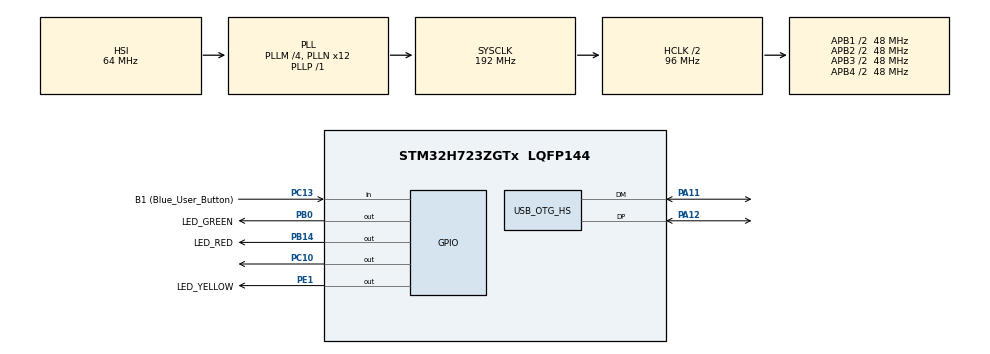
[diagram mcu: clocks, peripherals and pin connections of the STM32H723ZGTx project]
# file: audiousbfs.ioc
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Mcu.Family=STM32H7
Mcu.Name=STM32H723ZGTx
Mcu.Package=LQFP144
NVIC.OTG_HS_IRQn=true\:0\:0\:false\:false\:true\:false\:true\:true
NVIC.PriorityGroup=NVIC_PRIORITYGROUP_4
PA1.GPIO_Label=RMII_REF_CLK
PA1.Signal=ETH_REF_CLK
PA10.GPIO_Label=USB_FS_ID
PA10.Signal=USB_OTG_HS_ID
PA11.Mode=Device_Only_FS
PA11.Signal=USB_OTG_HS_DM
PA12.Mode=Device_Only_FS
PA12.Signal=USB_OTG_HS_DP
PA13(JTMS/SWDIO).GPIO_Label=SWDIO
PA13(JTMS/SWDIO).Signal=DEBUG_JTMS-SWDIO
PA14(JTCK/SWCLK).GPIO_Label=SWCLK
PA14(JTCK/SWCLK).Signal=DEBUG_JTCK-SWCLK
PA2.GPIO_Label=RMII_MDIO
PA2.Signal=ETH_MDIO
PA7.GPIO_Label=RMII_CRS_DV
PA7.Signal=ETH_CRS_DV
PA9.GPIO_Label=USB_FS_VBUS
PA9.Signal=USB_OTG_HS_VBUS
PB0.GPIO_Label=LED_GREEN
PB0.Signal=GPIO_Output
PB13.GPIO_Label=RMII_TXD1
PB13.Signal=ETH_TXD1
PB14.GPIO_Label=LED_RED
PB14.Signal=GPIO_Output
PB3(JTDO/TRACESWO).GPIO_Label=SWO
PB3(JTDO/TRACESWO).Signal=DEBUG_JTDO-SWO
PC1.GPIO_Label=RMII_MDC
PC1.Signal=ETH_MDC
PC10.Signal=GPIO_Output
PC13.GPIO_Label=B1 (Blue_User_Button)
PC13.Signal=GPIO_Input
PC14-OSC32_IN.Signal=RCC_OSC32_IN
PC15-OSC32_OUT.Signal=RCC_OSC32_OUT
PC4.GPIO_Label=RMII_RXD0
PC4.Signal=ETH_RXD0
PC5.GPIO_Label=RMII_RXD1
PC5.Signal=ETH_RXD1
PD8.GPIO_Label=STLK_VCP_RX
PD8.Signal=USART3_TX
PD9.GPIO_Label=STLK_VCP_TX
PD9.Signal=USART3_RX
PE1.GPIO_Label=LED_YELLOW
PE1.Signal=GPIO_Output
PG11.GPIO_Label=RMII_TX_EN
PG11.Signal=ETH_TX_EN
PG13.GPIO_Label=RMII_TXD0
PG13.Signal=ETH_TXD0
PH0-OSC_IN.GPIO_Label=MCO
PH0-OSC_IN.Mode=HSE-External-Oscillator
PH0-OSC_IN.Signal=RCC_OSC_IN
PH1-OSC_OUT.Mode=HSE-External-Oscillator
PH1-OSC_OUT.Signal=RCC_OSC_OUT
ProjectManager.HeapSize=0x200
ProjectManager.StackSize=0x400
ProjectManager.TargetToolchain=STM32CubeIDE
RCC.ADCFreq_Value=608000000
RCC.APB1Freq_Value=48000000
RCC.APB2Freq_Value=48000000
RCC.APB3Freq_Value=48000000
RCC.APB4Freq_Value=48000000
RCC.CortexFreq_Value=192000000
RCC.D1PPRE=RCC_APB3_DIV2
RCC.D2PPRE1=RCC_APB1_DIV2
RCC.D2PPRE2=RCC_APB2_DIV2
RCC.D3PPRE=RCC_APB4_DIV2
RCC.DIVM1=4
RCC.DIVM2=1
RCC.DIVN1=12
RCC.DIVN2=19
RCC.DIVP1=1
RCC.DIVQ1=4
RCC.HCLKFreq_Value=96000000
RCC.HPRE=RCC_HCLK_DIV2
RCC.HSE_VALUE=8000000
RCC.PLLFRACN=0
RCC.SYSCLKFreq_VALUE=192000000
RCC.SYSCLKSource=RCC_SYSCLKSOURCE_PLLCLK
RCC.USBCLockSelection=RCC_USBCLKSOURCE_HSI48
RCC.USBFreq_Value=48000000
USB_DEVICE.CLASS_NAME_HS=AUDIO
USB_DEVICE.PRODUCT_STRING_AUDIO_HS=STM32 QUANTTRONIX Class
USB_DEVICE.USBD_AUDIO_FREQ=48000
USB_DEVICE.USBD_DEBUG_LEVEL=3
USB_DEVICE.USBD_MAX_STR_DESC_SIZ=0xFFFF
USB_DEVICE.VirtualMode=Audio
USB_DEVICE.VirtualModeHS=Audio_HS
USB_OTG_HS.VirtualMode-Device_Only_FS=Device_Only_FS
USB_OTG_HS.dma_enable-Device_Only_FS=ENABLE
VP_USB_DEVICE_VS_USB_DEVICE_AUDIO_HS.Mode=AUDIO_HS
board=NUCLEO-H723ZG

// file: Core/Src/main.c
/* USER CODE BEGIN Header */
/**
  ******************************************************************************
  * @file           : main.c
  * @brief          : Main program body
  ******************************************************************************
  * @attention
  *
  * Copyright (c) 2022 STMicroelectronics.
  * All rights reserved.
  *
  * This software is licensed under terms that can be found in the LICENSE file
  * in the root directory of this software component.
  * If no LICENSE file comes with this software, it is provided AS-IS.
  *
  ******************************************************************************
  */
/* USER CODE END Header */
#include "main.h"
#include "usb_device.h"

/* USER CODE BEGIN Includes */
#include "usbd_audio.h"
#include "usbd_audio_if.h"
#include "stm32h7xx.h"

/* USER CODE END Includes */

/* USER CODE BEGIN PV */
extern USBD_HandleTypeDef hUsbDeviceHS;
#define USBx_INEP(i)    ((USB_OTG_INEndpointTypeDef *)(USBx_BASE\
                                                       + USB_OTG_IN_ENDPOINT_BASE + ((i) * USB_OTG_EP_REG_SIZE)))
/* USER CODE END PV */

void SystemClock_Config(void);
static void MX_GPIO_Init(void);

int main(void)
{

  /* MCU Configuration--------------------------------------------------------*/

  /* Reset of all peripherals, Initializes the Flash interface and the Systick. */
  HAL_Init();

  /* Configure the system clock */
  SystemClock_Config();

  /* Initialize all configured peripherals */
  MX_GPIO_Init();
  MX_USB_DEVICE_Init();
  /* USER CODE BEGIN 2 */
  uint8_t data[512] = "QUANTTRONIX\n";

  memset(data+14, 1 , 512-14);
//  USBD_AUDIO_Init(&hUsbDeviceHS,1);
#define OTG_HS_DIEPINT1 (*(volatile uint32_t*)0x40040928)
#define OTG_HS_DIEPINT0 (*(volatile uint32_t*)0x40040908)

#define OTG_HS_DAINT (*(volatile uint32_t*)0x40040818)

//  USBD_AUDIO_ItfTypeDef fops;
  /* USER CODE END 2 */

  /* Infinite loop */
  while (1)
  {

    /* USER CODE BEGIN 3 */
	  HAL_GPIO_WritePin(GPIOC, GPIO_PIN_10, 0);
//	  USBD_AUDIO_RegisterInterface(&hUsbDeviceHS, &fops);
//	  USBD_AUDIO_DataIn(&hUsbDeviceHS , 1);
	  if(USBD_CtlSendData(&hUsbDeviceHS,  data,  64) != USBD_OK)
	  {
		  while(USBD_CtlSendStatus(&hUsbDeviceHS) != USBD_OK);
	  }
//	  while((*(hUsbDeviceHS.pClass))->Setup(&hUsbDeviceHS , &req));
//	  while(!(OTG_HS_DIEPINT0 & (1<<7)));
//	  HAL_Delay(1000);

	  HAL_GPIO_WritePin(GPIOC, GPIO_PIN_10, 1);

  }
  /* USER CODE END 3 */
}

void SystemClock_Config(void)
{
  RCC_OscInitTypeDef RCC_OscInitStruct = {0};
  RCC_ClkInitTypeDef RCC_ClkInitStruct = {0};

  /** Supply configuration update enable
  */
  HAL_PWREx_ConfigSupply(PWR_LDO_SUPPLY);

  /** Configure the main internal regulator output voltage
  */
  __HAL_PWR_VOLTAGESCALING_CONFIG(PWR_REGULATOR_VOLTAGE_SCALE2);

  while(!__HAL_PWR_GET_FLAG(PWR_FLAG_VOSRDY)) {}

  /** Initializes the RCC Oscillators according to the specified parameters
  * in the RCC_OscInitTypeDef structure.
  */
  RCC_OscInitStruct.OscillatorType = RCC_OSCILLATORTYPE_HSI48|RCC_OSCILLATORTYPE_HSI;
  RCC_OscInitStruct.HSIState = RCC_HSI_DIV1;
  RCC_OscInitStruct.HSICalibrationValue = RCC_HSICALIBRATION_DEFAULT;
  RCC_OscInitStruct.HSI48State = RCC_HSI48_ON;
  RCC_OscInitStruct.PLL.PLLState = RCC_PLL_ON;
  RCC_OscInitStruct.PLL.PLLSource = RCC_PLLSOURCE_HSI;
  RCC_OscInitStruct.PLL.PLLM = 4;
  RCC_OscInitStruct.PLL.PLLN = 12;
  RCC_OscInitStruct.PLL.PLLP = 1;
  RCC_OscInitStruct.PLL.PLLQ = 4;
  RCC_OscInitStruct.PLL.PLLR = 2;
  RCC_OscInitStruct.PLL.PLLRGE = RCC_PLL1VCIRANGE_3;
  RCC_OscInitStruct.PLL.PLLVCOSEL = RCC_PLL1VCOWIDE;
  RCC_OscInitStruct.PLL.PLLFRACN = 0;
  if (HAL_RCC_OscConfig(&RCC_OscInitStruct) != HAL_OK)
  {
    Error_Handler();
  }

  /** Initializes the CPU, AHB and APB buses clocks
  */
  RCC_ClkInitStruct.ClockType = RCC_CLOCKTYPE_HCLK|RCC_CLOCKTYPE_SYSCLK
                              |RCC_CLOCKTYPE_PCLK1|RCC_CLOCKTYPE_PCLK2
                              |RCC_CLOCKTYPE_D3PCLK1|RCC_CLOCKTYPE_D1PCLK1;
  RCC_ClkInitStruct.SYSCLKSource = RCC_SYSCLKSOURCE_PLLCLK;
  RCC_ClkInitStruct.SYSCLKDivider = RCC_SYSCLK_DIV1;
  RCC_ClkInitStruct.AHBCLKDivider = RCC_HCLK_DIV2;
  RCC_ClkInitStruct.APB3CLKDivider = RCC_APB3_DIV2;
  RCC_ClkInitStruct.APB1CLKDivider = RCC_APB1_DIV2;
  RCC_ClkInitStruct.APB2CLKDivider = RCC_APB2_DIV2;
  RCC_ClkInitStruct.APB4CLKDivider = RCC_APB4_DIV2;

  if (HAL_RCC_ClockConfig(&RCC_ClkInitStruct, FLASH_LATENCY_1) != HAL_OK)
  {
    Error_Handler();
  }
}

static void MX_GPIO_Init(void)
{
  GPIO_InitTypeDef GPIO_InitStruct = {0};

  /* GPIO Ports Clock Enable */
  __HAL_RCC_GPIOC_CLK_ENABLE();
  __HAL_RCC_GPIOH_CLK_ENABLE();
  __HAL_RCC_GPIOA_CLK_ENABLE();
  __HAL_RCC_GPIOB_CLK_ENABLE();
  __HAL_RCC_GPIOD_CLK_ENABLE();
  __HAL_RCC_GPIOG_CLK_ENABLE();
  __HAL_RCC_GPIOE_CLK_ENABLE();

  /*Configure GPIO pin Output Level */
  HAL_GPIO_WritePin(GPIOB, LED_GREEN_Pin|LED_RED_Pin, GPIO_PIN_RESET);

  /*Configure GPIO pin Output Level */
  HAL_GPIO_WritePin(GPIOC, GPIO_PIN_10, GPIO_PIN_RESET);

  /*Configure GPIO pin Output Level */
  HAL_GPIO_WritePin(LED_YELLOW_GPIO_Port, LED_YELLOW_Pin, GPIO_PIN_RESET);

  /*Configure GPIO pin : B1_Pin */
  GPIO_InitStruct.Pin = B1_Pin;
  GPIO_InitStruct.Mode = GPIO_MODE_INPUT;
  GPIO_InitStruct.Pull = GPIO_NOPULL;
  HAL_GPIO_Init(B1_GPIO_Port, &GPIO_InitStruct);

  /*Configure GPIO pins : RMII_MDC_Pin RMII_RXD0_Pin RMII_RXD1_Pin */
  GPIO_InitStruct.Pin = RMII_MDC_Pin|RMII_RXD0_Pin|RMII_RXD1_Pin;
  GPIO_InitStruct.Mode = GPIO_MODE_AF_PP;
  GPIO_InitStruct.Pull = GPIO_NOPULL;
  GPIO_InitStruct.Speed = GPIO_SPEED_FREQ_LOW;
  GPIO_InitStruct.Alternate = GPIO_AF11_ETH;
  HAL_GPIO_Init(GPIOC, &GPIO_InitStruct);

  /*Configure GPIO pins : RMII_REF_CLK_Pin RMII_MDIO_Pin RMII_CRS_DV_Pin */
  GPIO_InitStruct.Pin = RMII_REF_CLK_Pin|RMII_MDIO_Pin|RMII_CRS_DV_Pin;
  GPIO_InitStruct.Mode = GPIO_MODE_AF_PP;
  GPIO_InitStruct.Pull = GPIO_NOPULL;
  GPIO_InitStruct.Speed = GPIO_SPEED_FREQ_LOW;
  GPIO_InitStruct.Alternate = GPIO_AF11_ETH;
  HAL_GPIO_Init(GPIOA, &GPIO_InitStruct);

  /*Configure GPIO pins : LED_GREEN_Pin LED_RED_Pin */
  GPIO_InitStruct.Pin = LED_GREEN_Pin|LED_RED_Pin;
  GPIO_InitStruct.Mode = GPIO_MODE_OUTPUT_PP;
  GPIO_InitStruct.Pull = GPIO_NOPULL;
  GPIO_InitStruct.Speed = GPIO_SPEED_FREQ_LOW;
  HAL_GPIO_Init(GPIOB, &GPIO_InitStruct);

  /*Configure GPIO pin : RMII_TXD1_Pin */
  GPIO_InitStruct.Pin = RMII_TXD1_Pin;
  GPIO_InitStruct.Mode = GPIO_MODE_AF_PP;
  GPIO_InitStruct.Pull = GPIO_NOPULL;
  GPIO_InitStruct.Speed = GPIO_SPEED_FREQ_LOW;
  GPIO_InitStruct.Alternate = GPIO_AF11_ETH;
  HAL_GPIO_Init(RMII_TXD1_GPIO_Port, &GPIO_InitStruct);

  /*Configure GPIO pins : STLK_VCP_RX_Pin STLK_VCP_TX_Pin */
  GPIO_InitStruct.Pin = STLK_VCP_RX_Pin|STLK_VCP_TX_Pin;
  GPIO_InitStruct.Mode = GPIO_MODE_AF_PP;
  GPIO_InitStruct.Pull = GPIO_NOPULL;
  GPIO_InitStruct.Speed = GPIO_SPEED_FREQ_LOW;
  GPIO_InitStruct.Alternate = GPIO_AF7_USART3;
  HAL_GPIO_Init(GPIOD, &GPIO_InitStruct);

  /*Configure GPIO pin : PC10 */
  GPIO_InitStruct.Pin = GPIO_PIN_10;
  GPIO_InitStruct.Mode = GPIO_MODE_OUTPUT_PP;
  GPIO_InitStruct.Pull = GPIO_NOPULL;
  GPIO_InitStruct.Speed = GPIO_SPEED_FREQ_LOW;
  HAL_GPIO_Init(GPIOC, &GPIO_InitStruct);

  /*Configure GPIO pins : RMII_TX_EN_Pin RMII_TXD0_Pin */
  GPIO_InitStruct.Pin = RMII_TX_EN_Pin|RMII_TXD0_Pin;
  GPIO_InitStruct.Mode = GPIO_MODE_AF_PP;
  GPIO_InitStruct.Pull = GPIO_NOPULL;
  GPIO_InitStruct.Speed = GPIO_SPEED_FREQ_LOW;
  GPIO_InitStruct.Alternate = GPIO_AF11_ETH;
  HAL_GPIO_Init(GPIOG, &GPIO_InitStruct);

  /*Configure GPIO pin : LED_YELLOW_Pin */
  GPIO_InitStruct.Pin = LED_YELLOW_Pin;
  GPIO_InitStruct.Mode = GPIO_MODE_OUTPUT_PP;
  GPIO_InitStruct.Pull = GPIO_NOPULL;
  GPIO_InitStruct.Speed = GPIO_SPEED_FREQ_LOW;
  HAL_GPIO_Init(LED_YELLOW_GPIO_Port, &GPIO_InitStruct);

}

void Error_Handler(void)
{
  __disable_irq();
  while (1)
  {
  }
}
